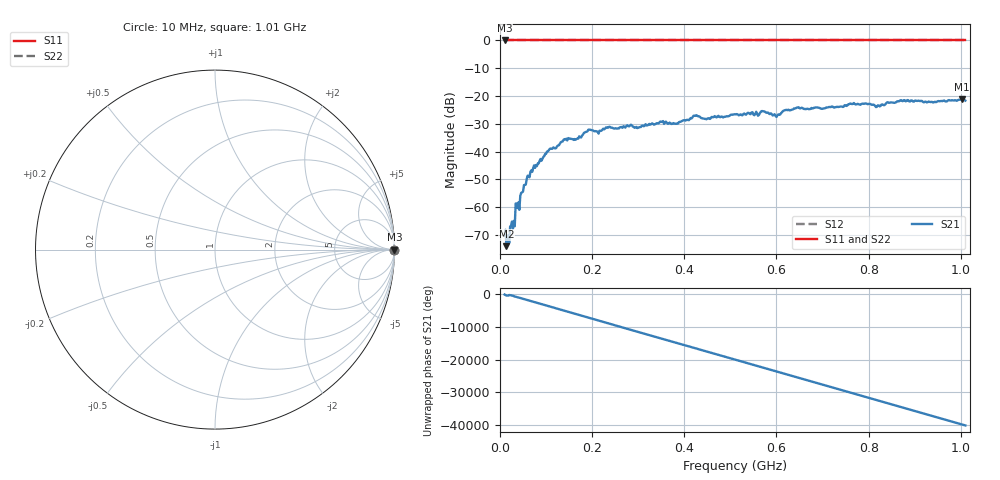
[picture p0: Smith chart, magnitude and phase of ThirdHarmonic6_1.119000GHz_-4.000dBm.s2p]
! 8/16/2025 10:44:18 AM
! C:\ANRITSUVNA\TEMP\TEMP.S2P
! CHANNEL.1
! TR.MEASUREMENT
! RAW.DATA
! RF.CORRECTION.OFF
! AVERAGING.OFF
! IF.BANDWIDTH: 5KHZ
! SWEEPTYPE:  FREQ.SWEEP(Linear)
! Reference Plane Port Info
! PORT:  PORT1  PORT2
! DISTANCE:  0  m  0  m
! TIME:  0  s  0  s
! PHASE.OFFSET:  0  deg.  0  deg.
! LOSS:  0  dB  0  dB
! REF.LOSS:  0  dB  0  dB
! REF.FREQ:  0  Hz  0  Hz
! Power Info
! POWER:  -20  dBm  -20  dBm
! EFF.POWER:  -20  dBm  -20  dBm
! SOURCE.ATTEN:  0  dB  0  dB
! TEST.ATTEN:  0  dB  0  dB
# GHZ S RI R 50.0
! FREQ.GHZ  S11RE  S11IM  S21RE  S21IM  S12RE  S12IM  S22RE  S22IM
!; PortSelection: Port_12
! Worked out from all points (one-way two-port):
!   501 points, 10 MHz to 1.01 GHz, reference 50 ohm
!   highest |S21| = -21.15 dB at 1.002 GHz (marker M1); lowest = -74.1 dB at 14 MHz (marker M2)
!   lowest |S11| = 0.0 dB at 10 MHz (marker M3)
!   |S11| at or under -10 dB: nowhere
!   |S22| runs from 0.0 to 0.0 dB; largest |S21 - S12| = 1.1
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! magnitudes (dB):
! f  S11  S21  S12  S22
! 10 MHz  0.0  -70.3  0.0  0.0
! 14 MHz  0.0  -74.1  0.0  0.0
! 18 MHz  0.0  -70.1  0.0  0.0
! 48 MHz  0.0  -54.6  0.0  0.0
! 70 MHz  0.0  -47.3  0.0  0.0
! 106 MHz  0.0  -39.5  0.0  0.0
! 140 MHz  0.0  -35.5  0.0  0.0
! 178 MHz  0.0  -34.3  0.0  0.0
! 196 MHz  0.0  -32.2  0.0  0.0
! 344 MHz  0.0  -29.9  0.0  0.0
! 382 MHz  0.0  -30.0  0.0  0.0
! 424 MHz  0.0  -27.1  0.0  0.0
! 446 MHz  0.0  -28.3  0.0  0.0
! 510 MHz  0.0  -26.6  0.0  0.0
! 570 MHz  0.0  -25.5  0.0  0.0
! 602 MHz  0.0  -27.0  0.0  0.0
! 644 MHz  0.0  -24.2  0.0  0.0
! 678 MHz  0.0  -24.5  0.0  0.0
! 820 MHz  0.0  -23.4  0.0  0.0
! 844 MHz  0.0  -22.4  0.0  0.0
! 1.002 GHz  0.0  -21.2  0.0  0.0
! 1.01 GHz  0.0  -21.7  0.0  0.0
